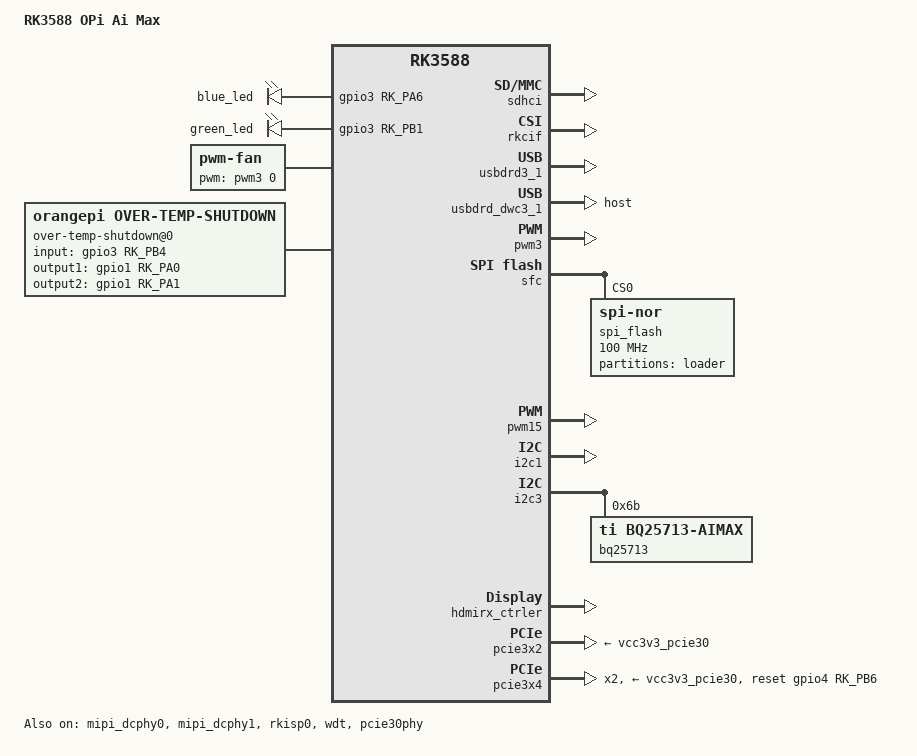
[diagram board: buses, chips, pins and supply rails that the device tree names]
// SPDX-License-Identifier: (GPL-2.0+ OR MIT)
/*
 * Copyright (c) 2021 Rockchip Electronics Co., Ltd.
 *
 */

/dts-v1/;

#include "rk3588-orangepi-ai-max.dtsi"
#include "rk3588-linux.dtsi"
#include "rk3588-orangepi-5-plus-lcd.dtsi"
#include "rk3588-orangepi-5-plus-camera1.dtsi"

/ {
	model = "RK3588 OPi Ai Max";
	compatible = "rockchip,rk3588-orangepi-ai-max", "rockchip,rk3588";

	leds: gpio-leds {
		compatible = "gpio-leds";
		pinctrl-names = "default";
		pinctrl-0 =<&leds_rgb>;
		status = "okay";

		blue_led@1 {
			gpios = <&gpio3 RK_PA6 GPIO_ACTIVE_HIGH>;
			label = "blue_led";
			linux,default-trigger = "heartbeat";
			linux,default-trigger-delay-ms = <0>;
		};

		green_led@2 {
			gpios = <&gpio3 RK_PB1 GPIO_ACTIVE_HIGH>;
			label = "green_led";
			linux,default-trigger = "heartbeat";
			linux,default-trigger-delay-ms = <0>;
		};
	};

	fan: pwm-fan {
		compatible = "pwm-fan";
		#cooling-cells = <2>;
		pwms = <&pwm3 0 50000 0>;
		cooling-levels = <180 190 200 230 240 255>;
		rockchip,temp-trips = <
			40000   1
			50000   2
			55000   3
			60000   4
			65000   5
		>;

		status = "okay";
	};

	over-temp-shutdown@0 {
		compatible = "orangepi,over-temp-shutdown";

		pinctrl-names = "default";
		pinctrl-0 = <&over_temp_gpio>;

		input-gpio = <&gpio3 RK_PB4 GPIO_ACTIVE_HIGH>;
		output1-gpio = <&gpio1 RK_PA0 GPIO_ACTIVE_HIGH>;
		output2-gpio = <&gpio1 RK_PA1 GPIO_ACTIVE_HIGH>;

		status = "okay";
	};
};

&sdhci {
	status = "okay";
};

&mipi_dcphy0 {
	status = "okay";
};

&mipi_dcphy1 {
	status = "okay";
};

&rkcif {
        status = "okay";
};

&rkcif_mmu {
        status = "okay";
};

&rkisp0 {
        status = "okay";
};

&isp0_mmu {
        status = "okay";
};

&usbdrd3_1 {
	status = "okay";
};

&usbdrd_dwc3_1 {
	dr_mode = "host";
	status = "okay";
};

/* Fan */
&pwm3 {
	status = "okay";
	pinctrl-names = "active";
	pinctrl-0 = <&pwm3m1_pins>;
};

/* watchdog */
&wdt {
	status = "okay";
};

&sfc {
	status = "okay";
	max-freq = <100000000>;
	#address-cells = <1>;
	#size-cells = <0>;
	pinctrl-names = "default";
	pinctrl-0 = <&fspim1_pins>;

	spi_flash: spi-flash@0 {
		#address-cells = <1>;
		#size-cells = <0>;
		compatible = "jedec,spi-nor";
		reg = <0x0>;
		spi-max-frequency = <100000000>;
		spi-tx-bus-width = <1>;
		spi-rx-bus-width = <4>;
		status = "okay";

		partitions {
			compatible = "fixed-partitions";
			#address-cells = <1>;
			#size-cells = <1>;

			loader@0 {
				label = "loader";
				reg = <0x0 0x1000000>;
			};
		};
	};
};

&pwm15 {
	compatible = "rockchip,remotectl-pwm";
	pinctrl-names = "default";
	pinctrl-0 = <&pwm15m1_pins>;
	remote_pwm_id = <3>;
	handle_cpu_id = <1>;
	remote_support_psci = <0>;
	status = "okay";

	ir_key1 {
		rockchip,usercode = <0xfb04>;
		rockchip,key_table =
			<0xa3   KEY_ENTER>,
			<0xe4   388>,
			<0xf5   KEY_BACK>,
			<0xbb   KEY_UP>,
			<0xe2   KEY_DOWN>,
			<0xe3   KEY_LEFT>,
			<0xb7   KEY_RIGHT>,
			<0xe0   KEY_HOME>,
			<0xba   KEY_VOLUMEUP>,
			<0xda   KEY_VOLUMEUP>,
			<0xe6   KEY_VOLUMEDOWN>,
			<0xdb   KEY_VOLUMEDOWN>,
			<0xbc   KEY_SEARCH>,
			<0xb2   KEY_POWER>,
			<0xe5   KEY_POWER>,
			<0xde   KEY_POWER>,
			<0xdc   KEY_MUTE>,
			<0xa2   KEY_MENU>,
			<0xec   KEY_1>,
			<0xef   KEY_2>,
			<0xee   KEY_3>,
			<0xf0   KEY_4>,
			<0xf3   KEY_5>,
			<0xf2   KEY_6>,
			<0xf4   KEY_7>,
			<0xf7   KEY_8>,
			<0xf6   KEY_9>,
			<0xb8   KEY_0>;
	};
};

&pinctrl {
	leds_gpio {
		leds_rgb: leds-rgb {
		        rockchip,pins = <3 RK_PA6 RK_FUNC_GPIO &pcfg_pull_up>,
					<3 RK_PB1 RK_FUNC_GPIO &pcfg_pull_up>;
		};
	};

	over_temp_gpio {
	        over_temp_gpio: over-temp-gpio {
	                rockchip,pins = <3 RK_PB4 RK_FUNC_GPIO &pcfg_pull_down>;
	        };
	};
};

&i2c1 {
	status = "okay";
	pinctrl-names = "default";
	pinctrl-0 = <&i2c1m2_xfer>;
};

&i2c3 {
	status = "okay";
	pinctrl-names = "default";
	pinctrl-0 = <&i2c3m0_xfer>;

	bq25713: bq25713@6b {
		status = "okay";
		compatible = "ti,bq25713-aimax";
		reg = <0x6b>;

		ti,charge-current = <2000000>;
		ti,max-input-voltage = <21000000>;
		ti,max-input-current = <3000000>;
		ti,max-charge-voltage = <12600000>;
		ti,input-current = <500000>;
		ti,input-current-sdp = <500000>;
		ti,input-current-dcp = <2000000>;
		ti,input-current-cdp = <2000000>;
		ti,minimum-sys-voltage = <7400000>;
		ti,otg-voltage = <5000000>;
		ti,otg-current = <1500000>;
	};
};

/*** 40 pins ***/
&i2c2 {
	status = "disabled";
	pinctrl-names = "default";
	pinctrl-0 = <&i2c2m0_xfer>;
};

&can0 {
	status = "disabled";
	pinctrl-names = "default";
	pinctrl-0 = <&can0m0_pins>;
	assigned-clocks = <&cru CLK_CAN0>;
	assigned-clock-rates = <200000000>;
};

&can1 {
	status = "disabled";
	pinctrl-names = "default";
	pinctrl-0 = <&can1m0_pins>;
	assigned-clocks = <&cru CLK_CAN1>;
	assigned-clock-rates = <200000000>;
};

&pwm0 {
	status = "disabled";
};

&pwm1 {
	status = "disabled";
};

&pwm14 {
	status = "disabled";
};

&spi0 {
	status = "disabled";
	assigned-clocks = <&cru CLK_SPI0>;
	assigned-clock-rates = <200000000>;
	num-cs = <2>;
};

&uart3 {
	status = "disabled";
	pinctrl-names = "default";
	pinctrl-0 = <&uart3m1_xfer>;
};

&uart4 {
	status = "disabled";
	pinctrl-names = "default";
	pinctrl-0 = <&uart4m2_xfer>;
};

&i2c2 {
	status = "disabled";
	pinctrl-names = "default";
	pinctrl-0 = <&i2c2m4_xfer>;
};

&i2c4 {
	status = "disabled";
	pinctrl-names = "default";
	pinctrl-0 = <&i2c4m3_xfer>;
};

&i2c5 {
	status = "disabled";
	pinctrl-names = "default";
	pinctrl-0 = <&i2c5m3_xfer>;
};

&i2c8 {
	status = "disabled";
	pinctrl-names = "default";
	pinctrl-0 = <&i2c8m2_xfer>;
};

&uart1 {
	status = "disabled";
	pinctrl-names = "default";
	pinctrl-0 = <&uart1m1_xfer>;
};

&uart6 {
	status = "disabled";
	pinctrl-names = "default";
	pinctrl-0 = <&uart6m1_xfer>;
};

&uart7 {
	status = "disabled";
	pinctrl-names = "default";
	pinctrl-0 = <&uart7m2_xfer>;
};

&uart8 {
	status = "disabled";
	pinctrl-names = "default";
	pinctrl-0 = <&uart8m1_xfer>;
};

&pwm10 {
	status = "disabled";
	pinctrl-names = "active";
	pinctrl-0 = <&pwm10m0_pins>;
};

&pwm11 {
	status = "disabled";
	pinctrl-names = "active";
	pinctrl-0 = <&pwm11m0_pins>;
};

&pwm12 {
	status = "disabled";
	pinctrl-names = "active";
	pinctrl-0 = <&pwm12m0_pins>;
};

&pwm13 {
	status = "disabled";
	pinctrl-names = "active";
	pinctrl-0 = <&pwm13m2_pins>;
	//pinctrl-0 = <&pwm13m0_pins>;
};

&spi4 {
	status = "disabled";
	assigned-clocks = <&cru CLK_SPI4>;
	assigned-clock-rates = <200000000>;
	num-cs = <2>;
};
/*** 40 pins ***/

&hdmirx_ctrler {
	status = "okay";
};

&pcie30phy {
	rockchip,pcie30-phymode = <PHY_MODE_PCIE_NANBNB>;
	status = "okay";
};

&pcie3x2 {
	//reset-gpios = <&gpio4 RK_PB6 GPIO_ACTIVE_HIGH>;
	vpcie3v3-supply = <&vcc3v3_pcie30>;
	status = "okay";
};

&pcie3x4 {
	num-lanes = <2>;
	reset-gpios = <&gpio4 RK_PB6 GPIO_ACTIVE_HIGH>;
	vpcie3v3-supply = <&vcc3v3_pcie30>;
	status = "okay";
};
